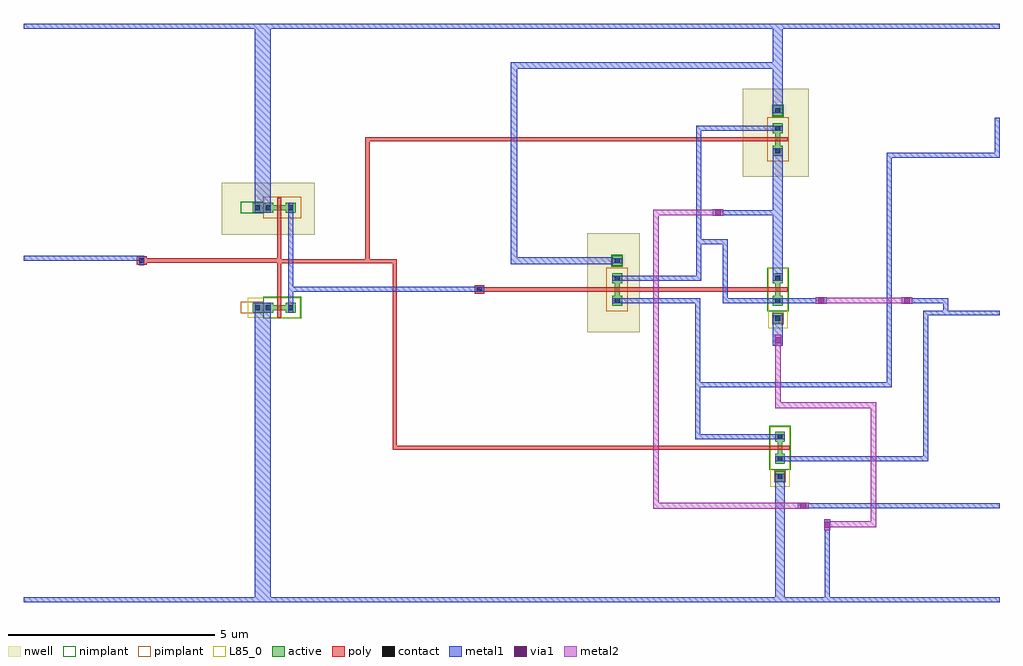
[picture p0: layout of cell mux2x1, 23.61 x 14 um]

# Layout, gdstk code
from math import pi, radians
import gdstk
lib = gdstk.Library(unit=1e-6, precision=5e-10)
def R(c, l, rs):  # rectangles x0, y0, x1, y1
    for r in rs: c.add(gdstk.rectangle(r[:2], r[2:], *l))
def A(c, l, x, y, w, h, nx, ny, dx, dy):  # array of equal rectangles
    R(c, l, [(x+i*dx, y+j*dy, x+i*dx+w, y+j*dy+h) for i in range(nx) for j in range(ny)])
active = (1, 0)
nwell = (2, 0)
poly = (3, 0)
nimplant = (4, 0)
pimplant = (5, 0)
contact = (6, 0)
metal1 = (7, 0)
via1 = (8, 0)
metal2 = (9, 0)
L85_0 = (85, 0)

pmos1v_0 = lib.new_cell('pmos1v_0')
A(pmos1v_0, active, -0.1, 0, 0.1, 0.12, 3, 1, 0.1, 0)
R(pmos1v_0, active, [(-0.77,-0.06,-0.52,0.18), (-0.34,-0.06,-0.1,0.18), (0.2,-0.06,0.44,0.18)])
R(pmos1v_0, nwell, [(-0.89,-0.18,0.56,0.3)])
R(pmos1v_0, poly, [(0,-0.18,0.1,-0.16), (0,-0.16,0.1,0), (0,0,0.1,0.12), (0,0.12,0.1,0.28), (0,0.28,0.1,0.3)])
R(pmos1v_0, nimplant, [(-0.79,-0.08,-0.5,0.2)])
R(pmos1v_0, pimplant, [(-0.48,-0.2,0.58,0.32), (-0.18,-0.18,0.28,0.3)])
R(pmos1v_0, contact, [(-0.705,0,-0.585,0.12), (-0.28,0,-0.16,0.12), (0.26,0,0.38,0.12)])
R(pmos1v_0, metal1, [(-0.71,-0.06,-0.58,0.18), (-0.28,-0.06,-0.16,0.18), (0.26,-0.06,0.38,0.18)])

pmos1v_1 = lib.new_cell('pmos1v_1')
A(pmos1v_1, active, -0.1, 0, 0.1, 0.12, 3, 1, 0.1, 0)
R(pmos1v_1, active, [(-0.77,-0.06,-0.52,0.18), (-0.34,-0.06,-0.1,0.18), (0.2,-0.06,0.44,0.18)])
R(pmos1v_1, nwell, [(-0.89,-0.18,0.56,0.3)])
R(pmos1v_1, poly, [(0,-0.2,0.1,-0.16), (0,-0.16,0.1,0), (0,0,0.1,0.12), (0,0.12,0.1,0.28), (0,0.28,0.1,0.32)])
R(pmos1v_1, nimplant, [(-0.79,-0.08,-0.5,0.2)])
R(pmos1v_1, pimplant, [(-0.48,-0.2,0.58,0.32), (-0.18,-0.18,0.28,0.3)])
R(pmos1v_1, contact, [(-0.705,0,-0.585,0.12), (-0.28,0,-0.16,0.12), (0.26,0,0.38,0.12)])
R(pmos1v_1, metal1, [(-0.71,-0.06,-0.58,0.18), (-0.28,-0.06,-0.16,0.18), (0.26,-0.06,0.38,0.18)])

nmos1v_2 = lib.new_cell('nmos1v_2')
A(nmos1v_2, active, -0.1, 0, 0.1, 0.12, 3, 1, 0.1, 0)
R(nmos1v_2, active, [(-0.6,-0.06,-0.1,0.18), (0.2,-0.06,0.44,0.18)])
R(nmos1v_2, poly, [(0,-0.18,0.1,-0.16), (0,-0.16,0.1,0), (0,0,0.1,0.12), (0,0.12,0.1,0.28), (0,0.28,0.1,0.3)])
R(nmos1v_2, nimplant, [(-0.34,-0.2,0.58,0.32), (-0.18,-0.18,0.28,0.3)])
R(nmos1v_2, pimplant, [(-0.88,-0.08,-0.34,0.2)])
R(nmos1v_2, contact, [(-0.54,0,-0.42,0.12), (-0.28,0,-0.16,0.12), (0.26,0,0.38,0.12)])
R(nmos1v_2, metal1, [(-0.54,-0.06,-0.16,0.18), (-0.54,-0.06,-0.16,0.18), (0.26,-0.06,0.38,0.18)])
R(nmos1v_2, L85_0, [(-0.72,-0.18,0.56,0.3)])

pmos1v_3 = lib.new_cell('pmos1v_3')
A(pmos1v_3, active, -0.1, 0, 0.1, 0.12, 3, 1, 0.1, 0)
R(pmos1v_3, active, [(-0.6,-0.06,-0.1,0.18), (0.2,-0.06,0.44,0.18)])
R(pmos1v_3, nwell, [(-0.72,-0.18,0.56,0.3)])
R(pmos1v_3, poly, [(0,-0.18,0.1,-0.16), (0,-0.16,0.1,0), (0,0,0.1,0.12), (0,0.12,0.1,0.28), (0,0.28,0.1,0.3)])
R(pmos1v_3, nimplant, [(-0.88,-0.08,-0.34,0.2)])
R(pmos1v_3, pimplant, [(-0.34,-0.2,0.58,0.32), (-0.18,-0.18,0.28,0.3)])
R(pmos1v_3, contact, [(-0.54,0,-0.42,0.12), (-0.28,0,-0.16,0.12), (0.26,0,0.38,0.12)])
R(pmos1v_3, metal1, [(-0.54,-0.06,-0.16,0.18), (-0.54,-0.06,-0.16,0.18), (0.26,-0.06,0.38,0.18)])

nmos1v_4 = lib.new_cell('nmos1v_4')
A(nmos1v_4, active, -0.1, 0, 0.1, 0.12, 3, 1, 0.1, 0)
R(nmos1v_4, active, [(-0.77,-0.06,-0.52,0.18), (-0.34,-0.06,-0.1,0.18), (0.2,-0.06,0.44,0.18)])
R(nmos1v_4, poly, [(0,-0.18,0.1,-0.16), (0,-0.16,0.1,0), (0,0,0.1,0.12), (0,0.12,0.1,0.28), (0,0.28,0.1,0.3)])
R(nmos1v_4, nimplant, [(-0.48,-0.2,0.58,0.32), (-0.18,-0.18,0.28,0.3)])
R(nmos1v_4, pimplant, [(-0.79,-0.08,-0.5,0.2)])
R(nmos1v_4, contact, [(-0.705,0,-0.585,0.12), (-0.28,0,-0.16,0.12), (0.26,0,0.38,0.12)])
R(nmos1v_4, metal1, [(-0.71,-0.06,-0.58,0.18), (-0.28,-0.06,-0.16,0.18), (0.26,-0.06,0.38,0.18)])
R(nmos1v_4, L85_0, [(-0.89,-0.18,0.56,0.3)])

m1_pov_0 = lib.new_cell('M1_POv_0')
R(m1_pov_0, poly, [(-0.12,-0.1,0.12,0.1)])
R(m1_pov_0, contact, [(-0.06,-0.06,0.06,0.06)])
R(m1_pov_0, metal1, [(-0.06,-0.12,0.06,0.12)])

m1_pov_1 = lib.new_cell('M1_POv_1')
R(m1_pov_1, poly, [(-0.12,-0.1,0.12,0.1)])
R(m1_pov_1, contact, [(-0.06,-0.06,0.06,0.06)])
R(m1_pov_1, metal1, [(-0.12,-0.06,0.12,0.06)])

m2_m1v_2 = lib.new_cell('M2_M1v_2')
R(m2_m1v_2, metal1, [(-0.13,-0.075,0.13,0.075)])
R(m2_m1v_2, via1, [(-0.07,-0.07,0.07,0.07)])
R(m2_m1v_2, metal2, [(-0.13,-0.075,0.13,0.075)])

m2_m1v_3 = lib.new_cell('M2_M1v_3')
R(m2_m1v_3, metal1, [(-0.075,-0.13,0.075,0.13)])
R(m2_m1v_3, via1, [(-0.07,-0.07,0.07,0.07)])
R(m2_m1v_3, metal2, [(-0.075,-0.13,0.075,0.13)])

m2_m1v_4 = lib.new_cell('M2_M1v_4')
R(m2_m1v_4, metal1, [(-0.12,-0.13,0.12,0.13)])
R(m2_m1v_4, via1, [(-0.07,-0.07,0.07,0.07)])
R(m2_m1v_4, metal2, [(-0.075,-0.13,0.075,0.13)])

mux2x1 = lib.new_cell('mux2x1')
R(mux2x1, nwell, [(13.64,6.54,14.91,8.93), (4.8,8.89,7.04,10.15), (17.4,10.29,19,12.43)])
A(mux2x1, metal1, 23.49, 2.275, 0.12, 0.12, 1, 3, 0, 4.665)
R(mux2x1, metal1, [(0,0,23.61,0.12), (0,8.27,0.12,8.39), (0,13.88,23.61,14)])
mux2x1.add(gdstk.FlexPath([(8.98,8.25),(8.32,8.25)], 0.1, ends="extended", simple_path=True, layer=3, datatype=0))  # poly
mux2x1.add(gdstk.FlexPath([(6.19,8.25),(6.19,7.37)], 0.1, ends=(0.05, 0), simple_path=True, layer=3, datatype=0))  # poly
mux2x1.add(gdstk.FlexPath([(18.06,3.74),(8.98,3.74)], 0.1, ends=(0, 0.05), simple_path=True, layer=3, datatype=0))  # poly
mux2x1.add(gdstk.FlexPath([(8.98,3.74),(8.98,8.25)], 0.1, ends="extended", simple_path=True, layer=3, datatype=0))  # poly
mux2x1.add(gdstk.FlexPath([(2.86,8.27),(6.19,8.27)], 0.1, ends=(0, 0.05), simple_path=True, layer=3, datatype=0))  # poly
mux2x1.add(gdstk.FlexPath([(8.32,11.2),(8.32,8.25)], 0.1, ends="extended", simple_path=True, layer=3, datatype=0))  # poly
mux2x1.add(gdstk.FlexPath([(8.32,8.25),(6.19,8.25)], 0.1, ends="extended", simple_path=True, layer=3, datatype=0))  # poly
mux2x1.add(gdstk.FlexPath([(6.19,8.27),(6.19,8.25)], 0.1, ends="extended", simple_path=True, layer=3, datatype=0))  # poly
mux2x1.add(gdstk.FlexPath([(14.12,7.57),(11.03,7.57)], 0.1, ends="flush", simple_path=True, layer=3, datatype=0))  # poly
mux2x1.add(gdstk.FlexPath([(14.6,7.57),(18.01,7.57)], 0.1, ends="flush", simple_path=True, layer=3, datatype=0))  # poly
mux2x1.add(gdstk.FlexPath([(18.01,11.2),(8.32,11.2)], 0.1, ends=(0, 0.05), simple_path=True, layer=3, datatype=0))  # poly
mux2x1.add(gdstk.FlexPath([(6.19,9.31),(6.19,8.27)], 0.1, ends=(0, 0.05), simple_path=True, layer=3, datatype=0))  # poly
mux2x1.add(gdstk.FlexPath([(23.55,11.605),(23.55,10.815)], 0.12, ends=(0, 0.06), simple_path=True, layer=7, datatype=0))  # metal1
mux2x1.add(gdstk.FlexPath([(11.87,12.99),(18.25,12.99)], 0.16, ends=(0.08, 0.12), simple_path=True, layer=7, datatype=0))  # metal1
mux2x1.add(gdstk.FlexPath([(11.87,8.265),(11.87,12.99)], 0.16, ends="extended", simple_path=True, layer=7, datatype=0))  # metal1
mux2x1.add(gdstk.FlexPath([(14.24,8.265),(11.87,8.265)], 0.16, ends=(0, 0.08), simple_path=True, layer=7, datatype=0))  # metal1
mux2x1.add(gdstk.FlexPath([(16.8,9.43),(18.25,9.43)], 0.12, ends=(0, 0.12), simple_path=True, layer=7, datatype=0))  # metal1
mux2x1.add(gdstk.FlexPath([(18.25,7.9),(18.25,9.43)], 0.24, ends=(0, 0.06), simple_path=True, layer=7, datatype=0))  # metal1
mux2x1.add(gdstk.FlexPath([(23.49,2.335),(18.86,2.335)], 0.12, ends="flush", simple_path=True, layer=7, datatype=0))  # metal1
mux2x1.add(gdstk.FlexPath([(19.44,1.88),(19.44,0.12)], 0.12, ends="flush", simple_path=True, layer=7, datatype=0))  # metal1
mux2x1.add(gdstk.FlexPath([(18.25,6.81),(18.25,6.34)], 0.24, ends="flush", simple_path=True, layer=7, datatype=0))  # metal1
mux2x1.add(gdstk.FlexPath([(21.83,7),(22.31,7)], 0.12, ends="extended", simple_path=True, layer=7, datatype=0))  # metal1
mux2x1.add(gdstk.FlexPath([(22.31,7.3),(22.31,7)], 0.12, ends="extended", simple_path=True, layer=7, datatype=0))  # metal1
mux2x1.add(gdstk.FlexPath([(18.37,7.3),(19.3,7.3)], 0.12, ends="flush", simple_path=True, layer=7, datatype=0))  # metal1
mux2x1.add(gdstk.FlexPath([(21.37,7.3),(22.31,7.3)], 0.12, ends=(0, 0.06), simple_path=True, layer=7, datatype=0))  # metal1
mux2x1.add(gdstk.FlexPath([(22.31,7),(23.61,7)], 0.12, ends=(0.06, 0), simple_path=True, layer=7, datatype=0))  # metal1
mux2x1.add(gdstk.FlexPath([(21.83,3.47),(21.83,7)], 0.12, ends="extended", simple_path=True, layer=7, datatype=0))  # metal1
mux2x1.add(gdstk.FlexPath([(18.42,3.47),(21.83,3.47)], 0.12, ends=(0, 0.06), simple_path=True, layer=7, datatype=0))  # metal1
mux2x1.add(gdstk.FlexPath([(16.34,11.47),(16.34,8.72)], 0.12, ends="extended", simple_path=True, layer=7, datatype=0))  # metal1
mux2x1.add(gdstk.FlexPath([(16.98,8.72),(16.34,8.72)], 0.12, ends="extended", simple_path=True, layer=7, datatype=0))  # metal1
mux2x1.add(gdstk.FlexPath([(16.98,7.3),(16.98,8.72)], 0.12, ends="extended", simple_path=True, layer=7, datatype=0))  # metal1
mux2x1.add(gdstk.FlexPath([(18.13,7.3),(16.98,7.3)], 0.12, ends=(0, 0.06), simple_path=True, layer=7, datatype=0))  # metal1
mux2x1.add(gdstk.FlexPath([(16.34,7.84),(14.48,7.84)], 0.12, ends=(0.06, 0), simple_path=True, layer=7, datatype=0))  # metal1
mux2x1.add(gdstk.FlexPath([(16.34,8.72),(16.34,7.84)], 0.12, ends="extended", simple_path=True, layer=7, datatype=0))  # metal1
mux2x1.add(gdstk.FlexPath([(18.13,11.47),(16.34,11.47)], 0.12, ends=(0, 0.06), simple_path=True, layer=7, datatype=0))  # metal1
mux2x1.add(gdstk.FlexPath([(5.79,7.01),(5.79,0.12)], 0.38, ends="flush", simple_path=True, layer=7, datatype=0))  # metal1
mux2x1.add(gdstk.FlexPath([(18.3,2.98),(18.3,0.12)], 0.24, ends="flush", simple_path=True, layer=7, datatype=0))  # metal1
mux2x1.add(gdstk.FlexPath([(20.94,10.815),(20.94,5.26)], 0.12, ends="extended", simple_path=True, layer=7, datatype=0))  # metal1
mux2x1.add(gdstk.FlexPath([(20.94,5.26),(16.305,5.26)], 0.12, ends="extended", simple_path=True, layer=7, datatype=0))  # metal1
mux2x1.add(gdstk.FlexPath([(16.305,7.3),(16.305,5.26)], 0.12, ends="extended", simple_path=True, layer=7, datatype=0))  # metal1
mux2x1.add(gdstk.FlexPath([(23.55,10.815),(20.94,10.815)], 0.12, ends="extended", simple_path=True, layer=7, datatype=0))  # metal1
mux2x1.add(gdstk.FlexPath([(16.305,4.01),(18.42,4.01)], 0.12, ends=(0.06, 0), simple_path=True, layer=7, datatype=0))  # metal1
mux2x1.add(gdstk.FlexPath([(16.305,5.26),(16.305,4.01)], 0.12, ends="extended", simple_path=True, layer=7, datatype=0))  # metal1
mux2x1.add(gdstk.FlexPath([(14.48,7.3),(16.305,7.3)], 0.12, ends=(0, 0.06), simple_path=True, layer=7, datatype=0))  # metal1
mux2x1.add(gdstk.FlexPath([(18.25,9.43),(18.25,10.87)], 0.24, ends=(0.06, 0), simple_path=True, layer=7, datatype=0))  # metal1
mux2x1.add(gdstk.FlexPath([(18.25,12.99),(18.25,13.88)], 0.24, ends=(0.12, 0), simple_path=True, layer=7, datatype=0))  # metal1
mux2x1.add(gdstk.FlexPath([(18.25,11.96),(18.25,12.99)], 0.24, ends=(0, 0.08), simple_path=True, layer=7, datatype=0))  # metal1
mux2x1.add(gdstk.FlexPath([(5.79,9.67),(5.79,13.88)], 0.38, ends="flush", simple_path=True, layer=7, datatype=0))  # metal1
mux2x1.add(gdstk.FlexPath([(6.46,9.43),(6.46,7.57)], 0.12, ends=(0, 0.06), simple_path=True, layer=7, datatype=0))  # metal1
mux2x1.add(gdstk.FlexPath([(6.46,7.57),(6.46,7.25)], 0.12, ends=(0.06, 0), simple_path=True, layer=7, datatype=0))  # metal1
mux2x1.add(gdstk.FlexPath([(11.03,7.57),(6.46,7.57)], 0.12, ends=(0, 0.06), simple_path=True, layer=7, datatype=0))  # metal1
mux2x1.add(gdstk.FlexPath([(2.86,8.33),(2.86,8.27)], 0.12, ends=(0.06, 0), simple_path=True, layer=7, datatype=0))  # metal1
mux2x1.add(gdstk.FlexPath([(0,8.33),(2.86,8.33)], 0.12, ends=(0, 0.06), simple_path=True, layer=7, datatype=0))  # metal1
mux2x1.add(gdstk.FlexPath([(19.44,1.89),(19.44,1.88)], 0.14, ends=(0.07, 0), simple_path=True, layer=9, datatype=0))  # metal2
mux2x1.add(gdstk.FlexPath([(18.25,6.34),(18.25,4.77)], 0.14, ends=(0, 0.07), simple_path=True, layer=9, datatype=0))  # metal2
mux2x1.add(gdstk.FlexPath([(18.25,4.77),(20.56,4.77)], 0.14, ends="extended", simple_path=True, layer=9, datatype=0))  # metal2
mux2x1.add(gdstk.FlexPath([(20.56,1.89),(19.44,1.89)], 0.14, ends="extended", simple_path=True, layer=9, datatype=0))  # metal2
mux2x1.add(gdstk.FlexPath([(15.3,9.43),(16.8,9.43)], 0.14, ends=(0.07, 0), simple_path=True, layer=9, datatype=0))  # metal2
mux2x1.add(gdstk.FlexPath([(15.3,2.335),(15.3,9.43)], 0.14, ends="extended", simple_path=True, layer=9, datatype=0))  # metal2
mux2x1.add(gdstk.FlexPath([(18.86,2.335),(15.3,2.335)], 0.14, ends=(0, 0.07), simple_path=True, layer=9, datatype=0))  # metal2
mux2x1.add(gdstk.FlexPath([(20.56,4.77),(20.56,1.89)], 0.14, ends="extended", simple_path=True, layer=9, datatype=0))  # metal2
mux2x1.add(gdstk.FlexPath([(19.3,7.3),(21.37,7.3)], 0.14, ends="flush", simple_path=True, layer=9, datatype=0))  # metal2
mux2x1.add(gdstk.Reference(pmos1v_0, (18.19,11.25), rotation=3*pi/2))
mux2x1.add(gdstk.Reference(pmos1v_1, (14.3,7.62), rotation=3*pi/2))
mux2x1.add(gdstk.Reference(nmos1v_2, (6.14,7.07)))
mux2x1.add(gdstk.Reference(pmos1v_3, (6.14,9.49)))
mux2x1.add(gdstk.Reference(nmos1v_4, (18.36,3.69), rotation=pi/2))
mux2x1.add(gdstk.Reference(nmos1v_4, (18.31,7.52), rotation=pi/2))
mux2x1.add(gdstk.Reference(m1_pov_0, (2.86,8.27)))
mux2x1.add(gdstk.Reference(m1_pov_1, (11.03,7.57)))
mux2x1.add(gdstk.Reference(m2_m1v_2, (18.86,2.335)))
mux2x1.add(gdstk.Reference(m2_m1v_2, (16.8,9.43)))
mux2x1.add(gdstk.Reference(m2_m1v_2, (19.3,7.3)))
mux2x1.add(gdstk.Reference(m2_m1v_2, (21.37,7.3)))
mux2x1.add(gdstk.Reference(m2_m1v_3, (19.44,1.88)))
mux2x1.add(gdstk.Reference(m2_m1v_4, (18.25,6.34)))

lib.write_gds('mux2x1.gds')
